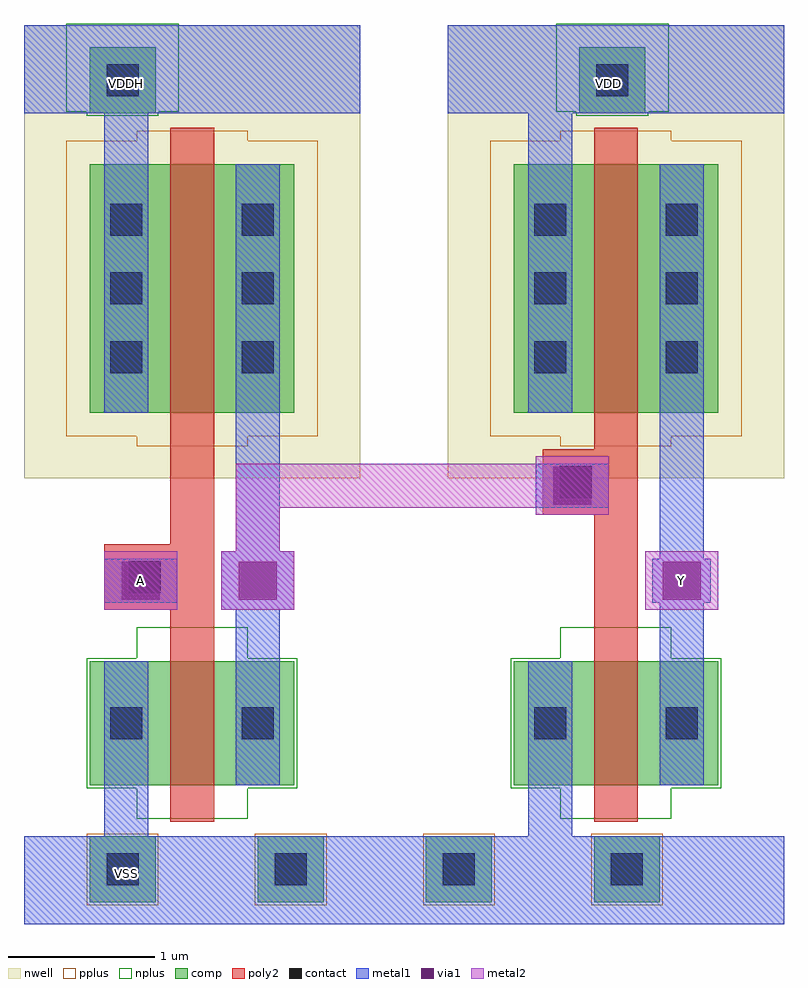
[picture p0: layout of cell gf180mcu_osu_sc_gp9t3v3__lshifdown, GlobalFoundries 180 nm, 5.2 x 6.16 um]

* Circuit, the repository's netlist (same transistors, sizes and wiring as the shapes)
* Copyright 2022 Google LLC
*
* Licensed under the Apache License, Version 2.0 (the "License");
* you may not use this file except in compliance with the License.
* You may obtain a copy of the License at
*
*      http://www.apache.org/licenses/LICENSE-2.0
*
* Unless required by applicable law or agreed to in writing, software
* distributed under the License is distributed on an "AS IS" BASIS,
* WITHOUT WARRANTIES OR CONDITIONS OF ANY KIND, either express or implied.
* See the License for the specific language governing permissions and
* limitations under the License.

.inc "/import/yukari1/lrburle/OSU_180/char/techfiles/design.hspice"
.lib "/import/yukari1/lrburle/OSU_180/char/techfiles/sm141064.hspice" typical

.GLOBAL VDD
.GLOBAL VSS

.option scale=0.05u

.subckt gf180mcu_osu_sc_gp9t3v3__lshifdown A Y
X0 a_26_19 A VDDH VDDH pmos_3p3 w=34 l=6
X1 Y a_26_19 VSS VSS nmos_3p3 w=17 l=6
X2 Y a_26_19 VDD VDD pmos_3p3 w=34 l=6
X3 a_26_19 A VSS VSS nmos_3p3 w=17 l=6
.ends

** hspice subcircuit dictionary

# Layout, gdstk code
import gdstk
lib = gdstk.Library(unit=1e-6, precision=1e-09)
def R(c, l, rs):  # rectangles x0, y0, x1, y1
    for r in rs: c.add(gdstk.rectangle(r[:2], r[2:], *l))
def A(c, l, x, y, w, h, nx, ny, dx, dy):  # array of equal rectangles
    R(c, l, [(x+i*dx, y+j*dy, x+i*dx+w, y+j*dy+h) for i in range(nx) for j in range(ny)])
nwell = (21, 0)
comp = (22, 0)
poly2 = (30, 0)
pplus = (31, 0)
nplus = (32, 0)
contact = (33, 0)
metal1 = (34, 0)
via1 = (35, 0)
metal2 = (36, 0)

gf180mcu_osu_sc_gp9t3v3_ = lib.new_cell('gf180mcu_osu_sc_gp9t3v3__lshifdown')
R(gf180mcu_osu_sc_gp9t3v3_, nwell, [(0,3.05,2.3,6.15), (2.9,3.05,5.2,6.15)])
A(gf180mcu_osu_sc_gp9t3v3_, comp, 0.45, 0.15, 0.45, 0.45, 4, 1, 1.15, 0)
R(gf180mcu_osu_sc_gp9t3v3_, comp, [(0.45,0.95,1.85,1.8), (3.35,0.95,4.75,1.8), (0.45,3.5,1.85,5.2), (3.35,3.5,4.75,5.2), (0.45,5.55,0.9,6), (3.8,5.55,4.25,6)])
R(gf180mcu_osu_sc_gp9t3v3_, poly2, [(1,0.7,1.3,2.15), (3.9,0.7,4.2,2.8), (0.55,2.15,1.3,2.6), (1,2.6,1.3,5.45), (3.55,2.8,4.2,3.25), (3.9,3.25,4.2,5.45)])
A(gf180mcu_osu_sc_gp9t3v3_, pplus, 0.43, 0.13, 0.49, 0.49, 4, 1, 1.15, 0)
R(gf180mcu_osu_sc_gp9t3v3_, pplus, [(0.77,3.27,1.53,3.34), (3.67,3.27,4.43,3.34), (0.29,3.34,2.01,5.36), (3.19,3.34,4.91,5.36), (0.77,5.36,1.53,5.43), (3.67,5.36,4.43,5.43)])
R(gf180mcu_osu_sc_gp9t3v3_, nplus, [(0.77,0.72,1.53,0.93), (3.67,0.72,4.43,0.93), (0.43,0.93,1.87,1.82), (3.33,0.93,4.77,1.82), (0.77,1.82,1.53,2.03), (3.67,1.82,4.43,2.03), (0.43,5.53,0.92,5.56), (3.78,5.53,4.27,5.56), (0.29,5.56,1.06,6.16), (3.64,5.56,4.41,6.16)])
A(gf180mcu_osu_sc_gp9t3v3_, contact, 0.565, 0.265, 0.22, 0.22, 4, 1, 1.15, 0)
A(gf180mcu_osu_sc_gp9t3v3_, contact, 0.59, 3.77, 0.22, 0.22, 1, 3, 0, 0.47)
A(gf180mcu_osu_sc_gp9t3v3_, contact, 1.49, 3.77, 0.22, 0.22, 1, 3, 0, 0.47)
A(gf180mcu_osu_sc_gp9t3v3_, contact, 3.49, 3.77, 0.22, 0.22, 1, 3, 0, 0.47)
A(gf180mcu_osu_sc_gp9t3v3_, contact, 4.39, 3.77, 0.22, 0.22, 1, 3, 0, 0.47)
R(gf180mcu_osu_sc_gp9t3v3_, contact, [(0.59,1.265,0.81,1.485), (1.49,1.265,1.71,1.485), (3.49,1.265,3.71,1.485), (4.39,1.265,4.61,1.485), (0.715,2.265,0.935,2.485), (3.665,2.915,3.885,3.135), (0.565,5.665,0.785,5.885), (3.915,5.665,4.135,5.885)])
R(gf180mcu_osu_sc_gp9t3v3_, metal1, [(0,0,5.2,0.6), (0.55,0.6,0.85,1.8), (3.45,0.6,3.75,1.8), (1.45,0.95,1.75,2.15), (4.35,0.95,4.65,2.2), (1.35,2.15,1.85,2.55), (0.55,2.2,1.05,2.5), (4.3,2.2,4.7,2.5), (4.35,2.5,4.65,5.2), (1.45,2.55,1.75,5.2), (3.5,2.85,4,3.15), (0.55,3.5,0.85,5.55), (3.45,3.5,3.75,5.55), (0,5.55,2.3,6.15), (2.9,5.55,5.2,6.15)])
R(gf180mcu_osu_sc_gp9t3v3_, via1, [(0.67,2.22,0.93,2.48), (1.47,2.22,1.73,2.48), (4.37,2.22,4.63,2.48), (3.62,2.87,3.88,3.13)])
R(gf180mcu_osu_sc_gp9t3v3_, metal2, [(0.55,2.15,1.05,2.55), (1.35,2.15,1.85,2.55), (4.25,2.15,4.75,2.55), (1.45,2.55,1.75,2.85), (3.5,2.8,4,2.85), (1.45,2.85,4,3.15), (3.5,3.15,4,3.2)])
gf180mcu_osu_sc_gp9t3v3_.add(gdstk.Label('VSS', (0.7,0.35), layer=34, texttype=0))
gf180mcu_osu_sc_gp9t3v3_.add(gdstk.Label('VDDH', (0.7,5.75), layer=34, texttype=0))
gf180mcu_osu_sc_gp9t3v3_.add(gdstk.Label('VDD', (4,5.75), layer=34, texttype=0))
gf180mcu_osu_sc_gp9t3v3_.add(gdstk.Label('A', (0.8,2.35), layer=36, texttype=10))
gf180mcu_osu_sc_gp9t3v3_.add(gdstk.Label('Y', (4.5,2.35), layer=36, texttype=10))

lib.write_gds('gf180mcu_osu_sc_gp9t3v3__lshifdown.gds')
